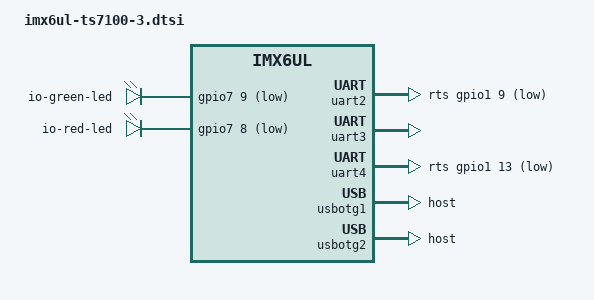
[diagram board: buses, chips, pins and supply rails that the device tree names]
// SPDX-License-Identifier: GPL-2.0+ or X11
/*
 * Copyright (C) 2023 Technologic Systems, Inc. dba embeddedTS
 */

/ {
	leds {
		compatible = "gpio-leds";

		led-2 {
			label = "io-green-led";
			gpios = <&gpio7 9 GPIO_ACTIVE_LOW>;
			default-state = "off";
		};

		led-3 {
			label = "io-red-led";
			gpios = <&gpio7 8 GPIO_ACTIVE_LOW>;
			default-state = "off";
		};
	};
};

/* CPU GPIO1: 209c000.gpio */
&gpio1 {
	gpio-line-names =
		"RS485_5_TXEN",  "RTC_BATT_FAIL", "I2C_1_CLK",     "I2C_1_DAT",
		"AN_CH0",        "AN_CH1",        "",              "",
		"AN_CH2",        "RS485_2_TXEN",  "",              "",
		"",              "",              "",              "",
		"",              "",              "",              "",
		"",              "",              "",              "",
		"",              "",              "",              "",
		"",              "",              "",              "";
};

/* CPU GPIO3: 20a4000.gpio */
&gpio3 {
	gpio-line-names =
		"",              "",              "",              "",
		"",              "",              "",              "",
		"",              "",              "",              "",
		"",              "",              "NIM_STATUS",    "",
		"",              "",              "",              "",
		"",              "",              "",              "",
		"",              "",              "",              "",
		"",              "",              "",              "";
};

/* CPU GPIO5: 20ac000.gpio */
&gpio5 {
	gpio-line-names =
		"POWER_FAIL_3V", "FPGA_IRQ",      "",              "",
		"EN_RELAY_1",    "EN_RELAY_2",    "NIM_RESET",     "",
		"",              "",              "",              "",
		"",              "",              "",              "",
		"",              "",              "",              "",
		"",              "",              "",              "",
		"",              "",              "",              "",
		"",              "",              "",              "";
};

/* FPGA dio: 50004010.gpio */
&gpio6 {
	gpio-line-names =
		"DIO_1_OUT", "DIO_2_OUT", "DIO_1_IN",  "DIO_2_IN",
		"DIO_3_IN",  "DIO_6",     "DIG_IN_1",  "DIG_IN_2",
		"DIG_IN_3",  "EN_CL_1",   "EN_CL_2",   "EN_CL_3",
		"",          "",          "EN_CL_4",   "EN_HS_SW";
};

/* FPGA dio2: 50004040.gpio */
&gpio7 {
	gpio-line-names =
		"EN_EMMC_3V3#",   "EN_ADC1_12V",    "EN_ADC2_12V",    "EN_ADC3_12V",
		"EN_ADC4_12V",    "EN_USB_HOST_5V", "PHY_RESET#",     "WIFI_RESET#",
		"IO_RED_LED#",    "IO_GREEN_LED#",  "",               "",
		"EN_PROG_SILAB",  "DIO_3_OUT",      "EN_HSPWM",       "EN_LSPWM";
};

/* FPGA dio3: 50004050.gpio */
&gpio8 {
	gpio-line-names =
		"CPU_TOUCH_IRQ#", "",               "C6_PAD",         "B8_PAD",
		"C9_PAD",         "C8_PAD",         "NIM_3V3#_4V",    "DIO_16_PAD",
		"NIM_PWR_ON",     "SEL_NIM_USB",    "DIO_FAULT#",     "",
		"",               "",               "EN_BK_LT#",      "";
};

&uart2 {
	pinctrl-names = "default";
	pinctrl-0 = <&pinctrl_uart2>;
	uart-has-rtscts;
	rts-gpios = <&gpio1 9 GPIO_ACTIVE_LOW>;
	linux,rs485-enabled-at-boot-time;
	dma-names = "", "";
};

&uart3 {
	pinctrl-names = "default";
	pinctrl-0 = <&pinctrl_uart3>;
	status = "okay";
	uart-has-rtscts;
};

&uart4 {
	pinctrl-names = "default";
	pinctrl-0 = <&pinctrl_uart4>;
	status = "okay";
	rts-gpios = <&gpio1 13 GPIO_ACTIVE_LOW>;
};

&uart5 {
	pinctrl-names = "default";
	pinctrl-0 = <&pinctrl_uart5>;
	uart-has-rtscts;
	linux,rs485-enabled-at-boot-time;
	dma-names = "", "";
};

&usbotg1 {
	dr_mode = "host";
	disable-over-current;
	status = "okay";
};

&usbotg2 {
	dr_mode = "host";
	disable-over-current;
	status = "okay";
};
